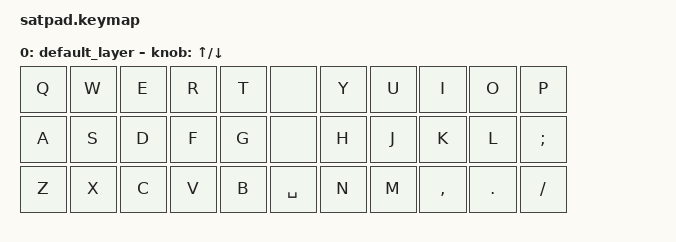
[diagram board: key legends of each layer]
/*
 * Copyright (c) 2022 The ZMK Contributors
 *
 * SPDX-License-Identifier: MIT
 */

#include <behaviors.dtsi>
#include <dt-bindings/zmk/keys.h>

/ {
    keymap {
        compatible = "zmk,keymap";

        default_layer {
            bindings = <
                &kp Q    &kp W    &kp E     &kp R     &kp T     &none     &kp Y     &kp U     &kp I     &kp O     &kp P   
                &kp A    &kp S    &kp D     &kp F     &kp G     &none     &kp H     &kp J     &kp K     &kp L     &kp SEMI
                &kp Z    &kp X    &kp C     &kp V     &kp B     &kp SPC   &kp N     &kp M     &kp COMMA &kp DOT   &kp FSLH
            >;
            sensor-bindings = <&inc_dec_kp UP DOWN>;
        };
    };

    
};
